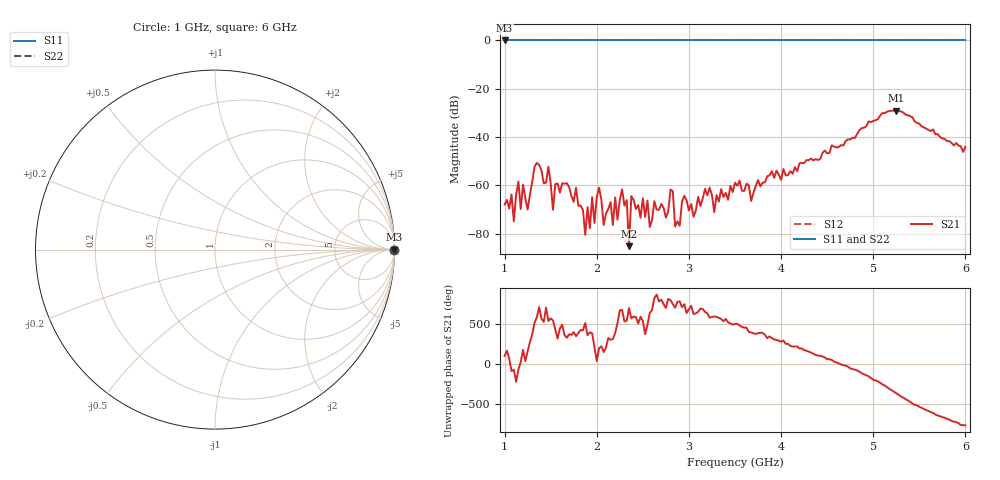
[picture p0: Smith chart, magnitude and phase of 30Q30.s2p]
!Keysight Technologies N9926A: A.08.19
!Date: Sunday, 01 March 2026 14:07:54
!Timezone: (GMT-06:00) Central Time (US & Canada)
!Model: N9926A
!Serial: MY53102721
!GPS Latitude:
!GPS Longitude:
!GPS TimeStamp: 0001-01-01 00:00:00Z
!GPS Seconds Since Last Read: 0
!CHECKSUM:0163728570
!Correction: S11()S21(ON U)S12()S22()
!S2P File: Measurements:S11,S21,S12,S22:
# Hz S DB R 50
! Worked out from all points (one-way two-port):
!   201 points, 1 GHz to 6 GHz, reference 50 ohm
!   highest |S21| = -29.08 dB at 5.25 GHz (marker M1); lowest = -85.3 dB at 2.35 GHz (marker M2)
!   lowest |S11| = 0.0 dB at 1 GHz (marker M3)
!   |S11| at or under -10 dB: nowhere
!   |S22| runs from 0.0 to 0.0 dB; largest |S21 - S12| = 1
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1e9  0.00 0.0  -68.01 102.1  0.00 0.0  0.00 0.0
1.1e9  0.00 0.0  -74.97 -70.9  0.00 0.0  0.00 0.0
1.15e9  0.00 0.0  -58.43 -67.4  0.00 0.0  0.00 0.0
1.25e9  0.00 0.0  -70.08 159.3  0.00 0.0  0.00 0.0
1.35e9  0.00 0.0  -50.74 -131.1  0.00 0.0  0.00 0.0
1.475e9  0.00 0.0  -52.30 178.8  0.00 0.0  0.00 0.0
1.525e9  0.00 0.0  -70.15 -173.3  0.00 0.0  0.00 0.0
1.675e9  0.00 0.0  -59.16 -30.7  0.00 0.0  0.00 0.0
1.85e9  0.00 0.0  -70.26 61.5  0.00 0.0  0.00 0.0
1.975e9  0.00 0.0  -75.63 -149.0  0.00 0.0  0.00 0.0
2.025e9  0.00 0.0  -60.99 -161.8  0.00 0.0  0.00 0.0
2.075e9  0.00 0.0  -76.49 149.6  0.00 0.0  0.00 0.0
2.175e9  0.00 0.0  -76.51 -46.0  0.00 0.0  0.00 0.0
2.275e9  0.00 0.0  -61.72 -40.4  0.00 0.0  0.00 0.0
2.35e9  0.00 0.0  -85.25 -18.3  0.00 0.0  0.00 0.0
2.375e9  0.00 0.0  -64.48 -147.9  0.00 0.0  0.00 0.0
2.675e9  0.00 0.0  -70.17 65.3  0.00 0.0  0.00 0.0
3.5e9  0.00 0.0  -58.96 144.0  0.00 0.0  0.00 0.0
4.35e9  0.00 0.0  -49.67 127.6  0.00 0.0  0.00 0.0
5.175e9  0.00 0.0  -29.24 47.2  0.00 0.0  0.00 0.0
5.25e9  0.00 0.0  -29.08 -7.8  0.00 0.0  0.00 0.0
6e9  0.00 0.0  -44.08 -52.3  0.00 0.0  0.00 0.0
